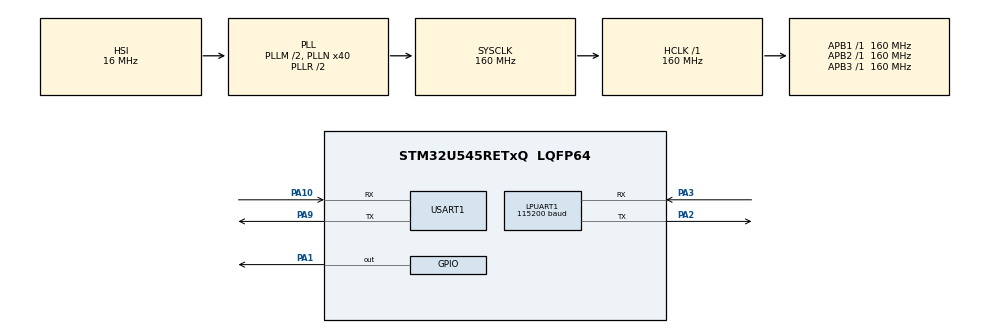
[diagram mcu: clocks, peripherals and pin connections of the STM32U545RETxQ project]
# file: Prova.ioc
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CORTEX_M33_NS.userName=CORTEX_M33
LPUART1.BaudRate=115200
Mcu.Family=STM32U5
Mcu.Name=STM32U545RETxQ
Mcu.Package=LQFP64
NVIC.LPUART1_IRQn=true\:0\:0\:false\:false\:true\:true\:true\:true
NVIC.PriorityGroup=NVIC_PRIORITYGROUP_4
NVIC.USART1_IRQn=true\:0\:0\:false\:false\:true\:true\:true\:true
PA1.Signal=GPIO_Output
PA10.Mode=Asynchronous
PA10.Signal=USART1_RX
PA2.Mode=Asynchronous
PA2.Signal=LPUART1_TX
PA3.Mode=Asynchronous
PA3.Signal=LPUART1_RX
PA9.Mode=Asynchronous
PA9.Signal=USART1_TX
PWR.PowerMode=PWR_SMPS_SUPPLY
ProjectManager.HeapSize=0x800
ProjectManager.StackSize=0x800
ProjectManager.TargetToolchain=STM32CubeIDE
RCC.ADCFreq_Value=16000000
RCC.AHBFreq_Value=160000000
RCC.APB1Freq_Value=160000000
RCC.APB1TimFreq_Value=160000000
RCC.APB2Freq_Value=160000000
RCC.APB2TimFreq_Value=160000000
RCC.APB3Freq_Value=160000000
RCC.CortexFreq_Value=160000000
RCC.DACCLockSelectionVirtual=RCC_DAC1CLKSOURCE_LSI
RCC.DACCLockSelectionVirtualString=RCC_DAC1CLKSOURCE_LSI
RCC.EPOD_VALUE=16000000
RCC.HCLKFreq_Value=160000000
RCC.HSE_VALUE=16000000
RCC.HSI48_VALUE=48000000
RCC.HSI_VALUE=16000000
RCC.LSE_VALUE=32768
RCC.LSIDIV_VALUE=32000
RCC.MSI_VALUE=4000000
RCC.PLLM=2
RCC.PLLN=40
RCC.PLLSourceVirtual=RCC_PLLSOURCE_HSI
RCC.SYSCLKFreq_VALUE=160000000
RCC.SYSCLKSource=RCC_SYSCLKSOURCE_PLLCLK
RCC.USBFreq_Value=48000000
RCC.VCOOutputFreq_Value=320000000
STMicroelectronics.X-CUBE-AI.10.2.0.ActivationBufferSizeList=35772
STMicroelectronics.X-CUBE-AI.10.2.0.ActivationBuffers=pool0
STMicroelectronics.X-CUBE-AI.10.2.0.ActivationNames=pool0
STMicroelectronics.X-CUBE-AI.10.2.0.ActivationSizes=AI_NETWORK_DATA_ACTIVATION_1_SIZE
STMicroelectronics.X-CUBE-AI.10.2.0.ApplicationCcDeviceJjApplication=ApplicationTemplate
STMicroelectronics.X-CUBE-AI.10.2.0.HeapSize=0x800
STMicroelectronics.X-CUBE-AI.10.2.0.InternalRamActivationBufferMaxSize=AI_NETWORK_DATA_ACTIVATIONS_SIZE
STMicroelectronics.X-CUBE-AI.10.2.0.LatestDirectoryUsed-73674bf283190aca3df79498e510bdc45bc97844315e4139df43cf4caf31f499=/home/cardigun/Scrivania
STMicroelectronics.X-CUBE-AI.10.2.0.MaximumNumberOfInputLayer=1
STMicroelectronics.X-CUBE-AI.10.2.0.MaximumNumberOfOutputLayer=1
STMicroelectronics.X-CUBE-AI.10.2.0.MaximumSizeOfInputLayer=1
STMicroelectronics.X-CUBE-AI.10.2.0.MaximumSizeOfOutputLayer=1
STMicroelectronics.X-CUBE-AI.10.2.0.ModelActualCompression-73674bf283190aca3df79498e510bdc45bc97844315e4139df43cf4caf31f499=0.0
STMicroelectronics.X-CUBE-AI.10.2.0.ModelCompression-73674bf283190aca3df79498e510bdc45bc97844315e4139df43cf4caf31f499=None
STMicroelectronics.X-CUBE-AI.10.2.0.ModelFlashOccupation-73674bf283190aca3df79498e510bdc45bc97844315e4139df43cf4caf31f499=163936
STMicroelectronics.X-CUBE-AI.10.2.0.ModelHashList=73674bf283190aca3df79498e510bdc45bc97844315e4139df43cf4caf31f499
STMicroelectronics.X-CUBE-AI.10.2.0.ModelKind-73674bf283190aca3df79498e510bdc45bc97844315e4139df43cf4caf31f499=TFLITE
STMicroelectronics.X-CUBE-AI.10.2.0.ModelMacc-73674bf283190aca3df79498e510bdc45bc97844315e4139df43cf4caf31f499=834976
STMicroelectronics.X-CUBE-AI.10.2.0.ModelName-73674bf283190aca3df79498e510bdc45bc97844315e4139df43cf4caf31f499=network
STMicroelectronics.X-CUBE-AI.10.2.0.ModelNameList=network
STMicroelectronics.X-CUBE-AI.10.2.0.ModelRamOccupation-73674bf283190aca3df79498e510bdc45bc97844315e4139df43cf4caf31f499=35772
STMicroelectronics.X-CUBE-AI.10.2.0.ModelStructureFile-73674bf283190aca3df79498e510bdc45bc97844315e4139df43cf4caf31f499=/home/cardigun/Scrivania/modello_int8.tflite
STMicroelectronics.X-CUBE-AI.10.2.0.ModelType-73674bf283190aca3df79498e510bdc45bc97844315e4139df43cf4caf31f499=STM32Cube.AI MCU runtime
STMicroelectronics.X-CUBE-AI.10.2.0.ReadyForCodeGeneration=true
STMicroelectronics.X-CUBE-AI.10.2.0.StackSize=0x800
STMicroelectronics.X-CUBE-AI.10.2.0.WorkingBufferStartAddrList=0xFFFFFFFF
STMicroelectronics.X-CUBE-AI.10.2.0.XAaCUBEAaAICcArtificialOoIntelligenceJjCore=true
STMicroelectronics.X-CUBE-AI.10.2.0.copyWeightToRam=false
STMicroelectronics.X-CUBE-AI.10.2.0.copyWeightToRam-73674bf283190aca3df79498e510bdc45bc97844315e4139df43cf4caf31f499=false
STMicroelectronics.X-CUBE-AI.10.2.0.customLayerConfigEnabled=false
STMicroelectronics.X-CUBE-AI.10.2.0.customLayerConfigEnabled-73674bf283190aca3df79498e510bdc45bc97844315e4139df43cf4caf31f499=false
STMicroelectronics.X-CUBE-AI.10.2.0.noOnnxIoTranspose=false
STMicroelectronics.X-CUBE-AI.10.2.0.noOnnxIoTranspose-73674bf283190aca3df79498e510bdc45bc97844315e4139df43cf4caf31f499=false
STMicroelectronics.X-CUBE-AI.10.2.0.useInputAllocation=true
STMicroelectronics.X-CUBE-AI.10.2.0.useInputAllocation-73674bf283190aca3df79498e510bdc45bc97844315e4139df43cf4caf31f499=true
STMicroelectronics.X-CUBE-AI.10.2.0.useOutputAllocation=true
STMicroelectronics.X-CUBE-AI.10.2.0.useOutputAllocation-73674bf283190aca3df79498e510bdc45bc97844315e4139df43cf4caf31f499=true
USART1.VirtualMode-Asynchronous=VM_ASYNC
VP_ICACHE_VS_ICACHE.Mode=DefaultMode
VP_LPBAMQUEUE_VS_QUEUE.Mode=QUEUEMODE
VP_LPBAM_VS_SIG1.Mode=SmartRun
VP_LPBAM_VS_SIG4.Mode=LPDMA1
VP_MEMORYMAP_VS_MEMORYMAP.Mode=CurAppReg
VP_PWR_VS_LPOM.Mode=PowerOptimisation
VP_PWR_VS_SECSignals.Mode=Security/Privilege
VP_STMicroelectronics.X-CUBE-AI_VS_ArtificialOoIntelligenceJjXAaCUBEAaAI_10.2.0.Mode=ArtificialOoIntelligenceJjXAaCUBEAaAI
VP_STMicroelectronics.X-CUBE-AI_VS_DeviceJjApplication_10.2.0.Mode=DeviceJjApplication
board=custom

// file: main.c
/* USER CODE BEGIN Header */
/**
  ******************************************************************************
  * @file           : main.c
  * @brief          : Main program body
  ******************************************************************************
  * @attention
  *
  * Copyright (c) 2025 STMicroelectronics.
  * All rights reserved.
  *
  * This software is licensed under terms that can be found in the LICENSE file
  * in the root directory of this software component.
  * If no LICENSE file comes with this software, it is provided AS-IS.
  *
  ******************************************************************************
  */
/* USER CODE END Header */
#include "main.h"
#include "app_x-cube-ai.h"

/* USER CODE BEGIN Includes */
#include <string.h>
#include <stdio.h>
#include <stdlib.h>   // per strtof
/* USER CODE END Includes */

/* USER CODE BEGIN PD */
#define RS485_DE_GPIO_Port GPIOA
#define RS485_DE_Pin       GPIO_PIN_1

static inline void RS485_RX(void) { HAL_GPIO_WritePin(RS485_DE_GPIO_Port, RS485_DE_Pin, GPIO_PIN_RESET); }
static inline void RS485_TX(void) { HAL_GPIO_WritePin(RS485_DE_GPIO_Port, RS485_DE_Pin, GPIO_PIN_SET); }

/* USER CODE END PD */

UART_HandleTypeDef hlpuart1;
UART_HandleTypeDef huart1;

/* USER CODE BEGIN PV */
extern int ai_push_line_of_16(const float v[16]);
uint8_t rx_byte;
char    rx_line[256];
uint16_t rx_len = 0;

volatile uint8_t line_ready = 0;
char line_copy[256];

static uint32_t rx_bytes = 0;

/* USER CODE END PV */

void SystemClock_Config(void);
static void SystemPower_Config(void);
static void MX_GPIO_Init(void);
static void MX_USART1_UART_Init(void);
static void MX_ICACHE_Init(void);
static void MX_LPUART1_UART_Init(void);
/* USER CODE BEGIN PFP */
void log_rs485(const char* s);
void log_vcp(const char* s);
void log_uart(const char* s);
static int parse_and_push_line(char* line);

/* USER CODE END PFP */

int main(void)
{

  /* MCU Configuration--------------------------------------------------------*/

  /* Reset of all peripherals, Initializes the Flash interface and the Systick. */
  HAL_Init();

  /* Configure the System Power */
  SystemPower_Config();

  /* Configure the system clock */
  SystemClock_Config();

  /* Initialize all configured peripherals */
  MX_GPIO_Init();
  MX_USART1_UART_Init();
  MX_ICACHE_Init();
  MX_LPUART1_UART_Init();
  MX_X_CUBE_AI_Init();
  /* USER CODE BEGIN 2 */
//  RS485_TX();  // DE/RE alto fisso: abilita trasmettitore, disabilita ricevitore
//  const char *msg = "[RS485] PING\r\n";
  RS485_TX();  // DE/RE alto fisso → solo trasmissione
  const char *msg = "[RS485] PING\r\n";
  /* USER CODE END 2 */

  /* Infinite loop */
  /* USER CODE BEGIN WHILE */
  RS485_RX();                // parti in ascolto
  HAL_UART_Receive_IT(&hlpuart1, &rx_byte, 1);

  log_vcp("[DBG] Board pronta su RS-485 (PA2/PA3). Invia 16 valori + \\n su /dev/ttyUSB0\r\n");
  log_rs485("[RX] Board pronta. Invia 16 valori separati da virgola, termina con \\n\r\n");
  static uint32_t ok_count = 0;

  while (1)
  {
	  if (line_ready) {
	    __disable_irq();
	    strncpy(line_copy, rx_line, sizeof(line_copy));
	    line_copy[sizeof(line_copy)-1] = '\0';
	    line_ready = 0;
	    __enable_irq();

	    int r = parse_and_push_line(line_copy);
	    log_rs485("[RX] OK: riga accettata\r\n");
	      // se vuoi tenere anche il contatore x5, lascialo sotto
	      if ((++ok_count % 5U) == 0U) log_rs485("[RX] OK: riga accettata\r\n");
	  }

    /* USER CODE END WHILE */

  MX_X_CUBE_AI_Process();
    /* USER CODE BEGIN 3 */
	  HAL_Delay(1000);

  }
  /* USER CODE END 3 */
}

void SystemClock_Config(void)
{
  RCC_OscInitTypeDef RCC_OscInitStruct = {0};
  RCC_ClkInitTypeDef RCC_ClkInitStruct = {0};

  /** Configure the main internal regulator output voltage
  */
  if (HAL_PWREx_ControlVoltageScaling(PWR_REGULATOR_VOLTAGE_SCALE1) != HAL_OK)
  {
    Error_Handler();
  }

  /** Initializes the CPU, AHB and APB buses clocks
  */
  RCC_OscInitStruct.OscillatorType = RCC_OSCILLATORTYPE_HSI;
  RCC_OscInitStruct.HSIState = RCC_HSI_ON;
  RCC_OscInitStruct.HSICalibrationValue = RCC_HSICALIBRATION_DEFAULT;
  RCC_OscInitStruct.PLL.PLLState = RCC_PLL_ON;
  RCC_OscInitStruct.PLL.PLLSource = RCC_PLLSOURCE_HSI;
  RCC_OscInitStruct.PLL.PLLMBOOST = RCC_PLLMBOOST_DIV1;
  RCC_OscInitStruct.PLL.PLLM = 2;
  RCC_OscInitStruct.PLL.PLLN = 40;
  RCC_OscInitStruct.PLL.PLLP = 2;
  RCC_OscInitStruct.PLL.PLLQ = 2;
  RCC_OscInitStruct.PLL.PLLR = 2;
  RCC_OscInitStruct.PLL.PLLRGE = RCC_PLLVCIRANGE_1;
  RCC_OscInitStruct.PLL.PLLFRACN = 0;
  if (HAL_RCC_OscConfig(&RCC_OscInitStruct) != HAL_OK)
  {
    Error_Handler();
  }

  /** Initializes the CPU, AHB and APB buses clocks
  */
  RCC_ClkInitStruct.ClockType = RCC_CLOCKTYPE_HCLK|RCC_CLOCKTYPE_SYSCLK
                              |RCC_CLOCKTYPE_PCLK1|RCC_CLOCKTYPE_PCLK2
                              |RCC_CLOCKTYPE_PCLK3;
  RCC_ClkInitStruct.SYSCLKSource = RCC_SYSCLKSOURCE_PLLCLK;
  RCC_ClkInitStruct.AHBCLKDivider = RCC_SYSCLK_DIV1;
  RCC_ClkInitStruct.APB1CLKDivider = RCC_HCLK_DIV1;
  RCC_ClkInitStruct.APB2CLKDivider = RCC_HCLK_DIV1;
  RCC_ClkInitStruct.APB3CLKDivider = RCC_HCLK_DIV1;

  if (HAL_RCC_ClockConfig(&RCC_ClkInitStruct, FLASH_LATENCY_4) != HAL_OK)
  {
    Error_Handler();
  }
}

/**
  * @brief Power Configuration
  * @retval None
  */
static void SystemPower_Config(void)
{

  /*
   * Switch to SMPS regulator instead of LDO
   */
  if (HAL_PWREx_ConfigSupply(PWR_SMPS_SUPPLY) != HAL_OK)
  {
    Error_Handler();
  }
}

static void MX_ICACHE_Init(void)
{

  /** Enable instruction cache (default 2-ways set associative cache)
  */
  if (HAL_ICACHE_Enable() != HAL_OK)
  {
    Error_Handler();
  }

}

static void MX_LPUART1_UART_Init(void)
{

  hlpuart1.Instance = LPUART1;
  hlpuart1.Init.BaudRate = 115200;
  hlpuart1.Init.WordLength = UART_WORDLENGTH_8B;
  hlpuart1.Init.StopBits = UART_STOPBITS_1;
  hlpuart1.Init.Parity = UART_PARITY_NONE;
  hlpuart1.Init.Mode = UART_MODE_TX_RX;
  hlpuart1.Init.HwFlowCtl = UART_HWCONTROL_NONE;
  hlpuart1.Init.OneBitSampling = UART_ONE_BIT_SAMPLE_DISABLE;
  hlpuart1.AdvancedInit.AdvFeatureInit = UART_ADVFEATURE_NO_INIT;
  hlpuart1.FifoMode = UART_FIFOMODE_DISABLE;
  if (HAL_UART_Init(&hlpuart1) != HAL_OK)
  {
    Error_Handler();
  }
  if (HAL_UARTEx_SetTxFifoThreshold(&hlpuart1, UART_TXFIFO_THRESHOLD_1_8) != HAL_OK)
  {
    Error_Handler();
  }
  if (HAL_UARTEx_SetRxFifoThreshold(&hlpuart1, UART_RXFIFO_THRESHOLD_1_8) != HAL_OK)
  {
    Error_Handler();
  }
  if (HAL_UARTEx_DisableFifoMode(&hlpuart1) != HAL_OK)
  {
    Error_Handler();
  }

}

static void MX_USART1_UART_Init(void)
{

  huart1.Instance = USART1;
  huart1.Init.BaudRate = 115200;
  huart1.Init.WordLength = UART_WORDLENGTH_8B;
  huart1.Init.StopBits = UART_STOPBITS_1;
  huart1.Init.Parity = UART_PARITY_NONE;
  huart1.Init.Mode = UART_MODE_TX_RX;
  huart1.Init.HwFlowCtl = UART_HWCONTROL_NONE;
  huart1.Init.OverSampling = UART_OVERSAMPLING_16;
  huart1.Init.OneBitSampling = UART_ONE_BIT_SAMPLE_DISABLE;
  huart1.Init.ClockPrescaler = UART_PRESCALER_DIV1;
  huart1.AdvancedInit.AdvFeatureInit = UART_ADVFEATURE_NO_INIT;
  if (HAL_UART_Init(&huart1) != HAL_OK)
  {
    Error_Handler();
  }
  if (HAL_UARTEx_SetTxFifoThreshold(&huart1, UART_TXFIFO_THRESHOLD_1_8) != HAL_OK)
  {
    Error_Handler();
  }
  if (HAL_UARTEx_SetRxFifoThreshold(&huart1, UART_RXFIFO_THRESHOLD_1_8) != HAL_OK)
  {
    Error_Handler();
  }
  if (HAL_UARTEx_DisableFifoMode(&huart1) != HAL_OK)
  {
    Error_Handler();
  }

}

static void MX_GPIO_Init(void)
{
  GPIO_InitTypeDef GPIO_InitStruct = {0};

  /* GPIO Ports Clock Enable */
  __HAL_RCC_GPIOA_CLK_ENABLE();

  /*Configure GPIO pin Output Level */
  HAL_GPIO_WritePin(GPIOA, GPIO_PIN_1, GPIO_PIN_RESET);

  /*Configure GPIO pin : PA1 */
  GPIO_InitStruct.Pin = GPIO_PIN_1;
  GPIO_InitStruct.Mode = GPIO_MODE_OUTPUT_PP;
  GPIO_InitStruct.Pull = GPIO_NOPULL;
  GPIO_InitStruct.Speed = GPIO_SPEED_FREQ_LOW;
  HAL_GPIO_Init(GPIOA, &GPIO_InitStruct);

}

/* USER CODE BEGIN 4 */
void log_rs485(const char* s) {
  RS485_TX();
  HAL_UART_Transmit(&hlpuart1, (uint8_t*)s, strlen(s), HAL_MAX_DELAY);
  // aspetta fine TX per non tagliare l'ultima byte prima di tornare in RX
  while (__HAL_UART_GET_FLAG(&hlpuart1, UART_FLAG_TC) == RESET) {}
  RS485_RX();
}

void log_vcp(const char* s) {
  extern UART_HandleTypeDef huart1;
  HAL_UART_Transmit(&huart1, (uint8_t*)s, strlen(s), HAL_MAX_DELAY);
}

//wrapper al volo da togliere
void log_uart(const char* s) {
  // compatibilità con codice Cube.AI
  log_rs485(s);   // se vuoi far passare tutto su RS-485
  // oppure log_vcp(s); se vuoi mantenerlo sul VCP
}

static int parse_and_push_line(char* line) {
  // atteso: "v0,v1,...,v18\n"
  float v[16];
  int count = 0;

  for (char* p = line; *p; ) {
    char* end;
    float val = strtof(p, &end);
    if (end == p) break;
    if (count < 16) v[count++] = val;
    if (*end == ',') { p = end + 1; }
    else { p = end; if (*p == '\n' || *p == '\r') p++; }
  }

  if (count != 16) {
    char msg[96];
    snprintf(msg, sizeof(msg), "[RX] ERR parse: attesi 16 valori, trovati %d\r\n", count);
    log_uart(msg);
    return -1;
  }

  /* BEGIN patch main.c — rimuovi clamp z-score */
    // opzionale: clamp 0..1  ← NO
    // for (int i=0;i<16;i++) {
    //   if (v[i] < 0.f) v[i] = 0.f;
    //   if (v[i] > 1.f) v[i] = 1.f;
    // }
  /* END patch main.c */

  return ai_push_line_of_16(v);
}

//void HAL_UART_RxCpltCallback(UART_HandleTypeDef *huart) {
//  if (huart->Instance == USART1) {
//    char c = (char)rx_byte;
//    extern UART_HandleTypeDef huart1;
//    //HAL_UART_Transmit(&huart1, (uint8_t*)&c, 1, 0xFFFF);  // echo del carattere ricevuto
//    if (c == '\n' || c == '\r') {
//      if (rx_len > 0) {
//        rx_line[rx_len] = '\0';
//        parse_and_push_line(rx_line);
//
//         log_uart("OK: riga accettata\r\n");
//
//
//        rx_len = 0;
//      }
//    } else {
//      if (rx_len < sizeof(rx_line)-1) rx_line[rx_len++] = c;
//      // se overflow, reset linea
//      else rx_len = 0;
//    }
//    HAL_UART_Receive_IT(huart, &rx_byte, 1); // ri-arma RX
//  }
//}

void HAL_UART_RxCpltCallback(UART_HandleTypeDef *huart) {
  if (huart->Instance == LPUART1) {
    char c = (char)rx_byte;

    if (c == '\n') {
      if (rx_len > 0 && !line_ready) {
        rx_line[rx_len] = '\0';
        line_ready = 1;
      }
      rx_len = 0;
    } else if (c != '\r') {
      if (rx_len < sizeof(rx_line)-1) rx_line[rx_len++] = c;
      else rx_len = 0; // overflow → reset
    }

    HAL_UART_Receive_IT(&hlpuart1, &rx_byte, 1); // ri-arma RX su LPUART1
  }
}

/* USER CODE END 4 */

void Error_Handler(void)
{
  __disable_irq();
  while (1)
  {
  }
}
